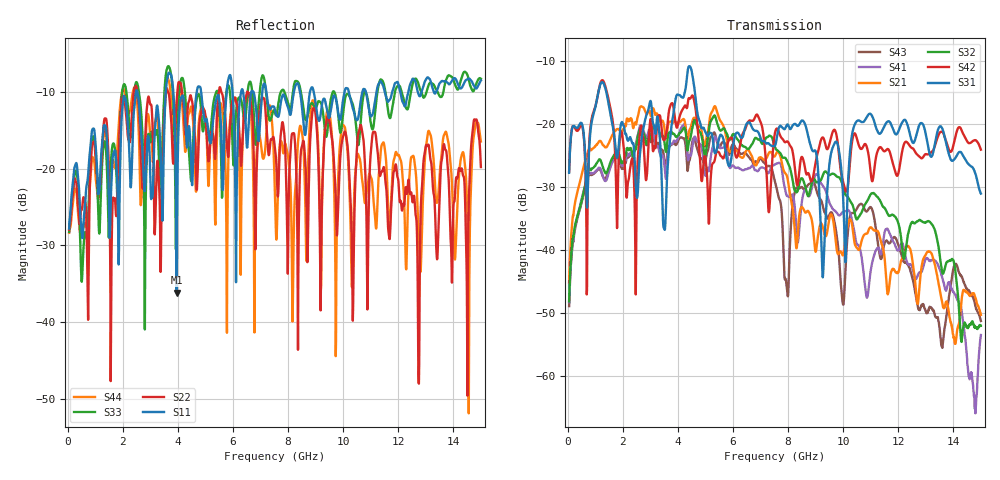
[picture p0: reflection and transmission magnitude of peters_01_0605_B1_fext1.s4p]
! peters_01_0605 B1 channel fext1 coupling
#  HZ  S  RI  R  50
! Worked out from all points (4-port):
!   1496 points, 50 MHz to 15 GHz, reference 50 ohm
!   strongest paths, dB at 50 MHz, 3.79 GHz, 7.53 GHz, 11.27 GHz, 15 GHz:
!     S31: -27.8, -19.7, -23.5, -21.4, -31.1
!     S42: -27.6, -16.8, -21.4, -24.2, -24.1
!     S32: -48.2, -21.5, -23.8, -31.8, -52.1
!     S21: -45.2, -19.8, -25.1, -37.1, -50.3
!     S41: -48.3, -23.2, -26.5, -39.7, -53.5
!     S43: -49.0, -23.3, -29.3, -39.3, -51.3
!   lowest |S11| = -36.2 dB at 3.95 GHz (marker M1), VSWR 1.03, Z = 51.6 + j0.211 ohm
!   |S11| at or under -10 dB: start of sweep to 2.478 GHz; 2.53 GHz to 3.558 GHz (1.029 GHz wide, 33.8 % of centre); 8.934 GHz to 10.05 GHz (1.114 GHz wide, 11.7 % of centre)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
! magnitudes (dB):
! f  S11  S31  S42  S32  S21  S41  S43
! 50 MHz  -27.8  -27.8  -27.6  -48.2  -45.2  -48.3  -49.0
! 3.51 GHz  -14.2  -36.7  -22.6  -22.9  -20.7  -26.6  -25.9
! 3.95 GHz  -36.2  -15.5  -20.6  -22.1  -19.8  -22.7  -23.3
! 8.56 GHz  -14.1  -19.6  -25.9  -29.1  -33.6  -31.1  -30.4
! 9.27 GHz  -11.0  -44.1  -22.2  -28.1  -36.6  -29.9  -33.3
! 12.73 GHz  -10.2  -20.7  -25.1  -35.4  -48.0  -43.8  -49.4
! 15 GHz  -8.5  -31.1  -24.1  -52.1  -50.3  -53.5  -51.3
